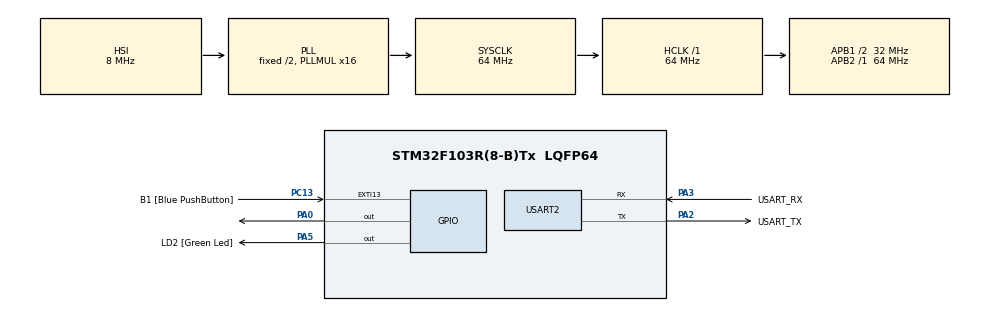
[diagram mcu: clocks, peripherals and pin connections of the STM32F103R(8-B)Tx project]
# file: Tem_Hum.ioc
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Mcu.Family=STM32F1
Mcu.Name=STM32F103R(8-B)Tx
Mcu.Package=LQFP64
NVIC.EXTI15_10_IRQn=true\:0\:0\:false\:false\:true\:true\:true\:true
NVIC.PriorityGroup=NVIC_PRIORITYGROUP_4
PA0-WKUP.Signal=GPIO_Output
PA13.GPIO_Label=TMS
PA13.Mode=Serial_Wire
PA13.Signal=SYS_JTMS-SWDIO
PA14.GPIO_Label=TCK
PA14.Mode=Serial_Wire
PA14.Signal=SYS_JTCK-SWCLK
PA2.GPIO_Label=USART_TX
PA2.GPIO_Mode=GPIO_MODE_AF_PP
PA2.GPIO_PuPd=GPIO_NOPULL
PA2.GPIO_Speed=GPIO_SPEED_FREQ_LOW
PA2.Mode=Asynchronous
PA2.Signal=USART2_TX
PA3.GPIO_Label=USART_RX
PA3.GPIO_Mode=GPIO_MODE_AF_PP
PA3.GPIO_PuPd=GPIO_NOPULL
PA3.GPIO_Speed=GPIO_SPEED_FREQ_LOW
PA3.Mode=Asynchronous
PA3.Signal=USART2_RX
PA5.GPIO_Label=LD2 [Green Led]
PA5.GPIO_ModeDefaultOutputPP=GPIO_MODE_OUTPUT_PP
PA5.GPIO_PuPd=GPIO_NOPULL
PA5.GPIO_Speed=GPIO_SPEED_FREQ_LOW
PA5.Signal=GPIO_Output
PB3.GPIO_Label=SWO
PB3.Signal=SYS_JTDO-TRACESWO
PC13-TAMPER-RTC.GPIO_Label=B1 [Blue PushButton]
PC13-TAMPER-RTC.GPIO_PuPd=GPIO_NOPULL
PC13-TAMPER-RTC.Signal=GPXTI13
PC14-OSC32_IN.Mode=LSE-External-Oscillator
PC14-OSC32_IN.Signal=RCC_OSC32_IN
PC15-OSC32_OUT.Mode=LSE-External-Oscillator
PC15-OSC32_OUT.Signal=RCC_OSC32_OUT
PD0-OSC_IN.Mode=HSE-External-Clock-Source
PD0-OSC_IN.Signal=RCC_OSC_IN
PD1-OSC_OUT.Mode=HSE-External-Clock-Source
PD1-OSC_OUT.Signal=RCC_OSC_OUT
ProjectManager.HeapSize=0x200
ProjectManager.StackSize=0x400
ProjectManager.TargetToolchain=STM32CubeIDE
RCC.AHBFreq_Value=64000000
RCC.APB1CLKDivider=RCC_HCLK_DIV2
RCC.APB1Freq_Value=32000000
RCC.APB1TimFreq_Value=64000000
RCC.APB2Freq_Value=64000000
RCC.APB2TimFreq_Value=64000000
RCC.HCLKFreq_Value=64000000
RCC.PLLMUL=RCC_PLL_MUL16
RCC.RTCClockSelection=RCC_RTCCLKSOURCE_LSE
RCC.SYSCLKFreq_VALUE=64000000
RCC.SYSCLKSource=RCC_SYSCLKSOURCE_PLLCLK
RCC.USBFreq_Value=64000000
TIM2.Prescaler=64-1
USART2.VirtualMode=VM_ASYNC
VP_TIM2_VS_ClockSourceINT.Mode=Internal
board=NUCLEO-F103RB

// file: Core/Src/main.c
/* USER CODE BEGIN Header */
/**
  ******************************************************************************
  * @file           : main.c
  * @brief          : Main program body
  ******************************************************************************
  * @attention
  *
  * Copyright (c) 2022 STMicroelectronics.
  * All rights reserved.
  *
  * This software is licensed under terms that can be found in the LICENSE file
  * in the root directory of this software component.
  * If no LICENSE file comes with this software, it is provided AS-IS.
  *
  ******************************************************************************
  */
/* USER CODE END Header */
#include "main.h"

/* USER CODE BEGIN Includes */
#include "stdio.h"
/* USER CODE END Includes */

 TIM_HandleTypeDef htim2;

UART_HandleTypeDef huart2;

/* USER CODE BEGIN PV */
uint8_t RH_integral, RH_decimal, T_integral, T_decimal, CheckSum;
/* USER CODE END PV */

void SystemClock_Config(void);
static void MX_GPIO_Init(void);
static void MX_USART2_UART_Init(void);
static void MX_TIM2_Init(void);
/* USER CODE BEGIN PFP */
#ifdef __GNUC__
/* With GCC, small printf (option LD Linker->Libraries->Small printf
   set to 'Yes') calls __io_putchar() */
#define PUTCHAR_PROTOTYPE int __io_putchar(int ch)
#else
#define PUTCHAR_PROTOTYPE int fputc(int ch, FILE *f)
#endif /* __GNUC__ */

PUTCHAR_PROTOTYPE
{
  /* Place your implementation of fputc here */
  /* e.g. write a character to the USART1 and Loop until the end of transmission */
  HAL_UART_Transmit(&huart2, (uint8_t *)&ch, 1, 0xFFFF);

  return ch;
}
/* USER CODE END PFP */

/* USER CODE BEGIN 0 */
void Set_Pin_Output(GPIO_TypeDef *GPIOx, uint16_t GPIO_Pin) {
	GPIOA->CRL |= (1 << 3 | 1 << 1 | 1 << 0);
	GPIOA->CRL &= ~(1 << 2);

}

void Set_Pin_Input(GPIO_TypeDef *GPIOx, uint16_t GPIO_Pin) {
	GPIOA->CRL &= ~(1 << 2 | 1 << 1 | 1 << 0);
	GPIOA->CRL |= 1 << 3;
}

void DHT11_Start() {
	Set_Pin_Output(GPIOA, GPIO_PIN_0); //set as output
	HAL_GPIO_WritePin(GPIOA, GPIO_PIN_0, GPIO_PIN_RESET);
	HAL_GPIO_WritePin(GPIOA, GPIO_PIN_0, GPIO_PIN_SET);
	us_delay(20);
	Set_Pin_Input(GPIOA, GPIO_PIN_0); //set as input
}

uint8_t DHT11_Check_Response() {
	uint8_t Response = 0;
	us_delay(40);
	if(!(HAL_GPIO_ReadPin(GPIOA, GPIO_PIN_0))) {
		us_delay(80);
		if((HAL_GPIO_ReadPin(GPIOA, GPIO_PIN_0))) Response = 1;
		else Response = -1; //255
	}
	while((HAL_GPIO_ReadPin(GPIOA, GPIO_PIN_0))); //wait for the pin to go low

	return Response;
}

uint8_t DHT11_Read() {
	uint8_t data;
	for(uint8_t i = 0; i < 8; i++) {
		while(!(HAL_GPIO_ReadPin(GPIOA, GPIO_PIN_0))); //wait for the pin to go high
		us_delay(40);
		if(!(HAL_GPIO_ReadPin(GPIOA, GPIO_PIN_0))) { //if the pin is low
			data = (data << 1); //write 0
		}
		else data = (data << 1) + 1; //if the pin is high, write 1

		while((HAL_GPIO_ReadPin(GPIOA, GPIO_PIN_0))); //wait for the pin to go low
	}
	return data;
}

void us_delay(uint16_t delay) {
	__HAL_TIM_SET_COUNTER(&htim2, 0);
	while(__HAL_TIM_GET_COUNTER(&htim2) < delay);

//	TIM3->CNT = 0;
//	while(TIM3->CNT < delay);
}
/* USER CODE END 0 */

int main(void)
{

  /* MCU Configuration--------------------------------------------------------*/

  /* Reset of all peripherals, Initializes the Flash interface and the Systick. */
  HAL_Init();

  /* Configure the system clock */
  SystemClock_Config();

  /* Initialize all configured peripherals */
  MX_GPIO_Init();
  MX_USART2_UART_Init();
  MX_TIM2_Init();
  /* USER CODE BEGIN 2 */

  HAL_TIM_Base_Start(&htim2);

  /* USER CODE END 2 */

  /* Infinite loop */
  /* USER CODE BEGIN WHILE */
  while (1)
  {
	  DHT11_Start();
	  DHT11_Check_Response();

	  RH_integral = DHT11_Read();
	  RH_decimal = DHT11_Read();
	  T_integral = DHT11_Read();
	  T_decimal = DHT11_Read();
	  CheckSum = DHT11_Read();

	  if((RH_integral + RH_decimal + T_integral + T_decimal) == CheckSum) {
		  printf("Temperature : %d.%d 'C\n", T_integral, T_decimal);
		  printf("Humidity : %d.%d %%\n\r", RH_integral, RH_decimal);
	  }
	  else {
		  printf("DHT11 Error\n");
	  }
	  HAL_Delay(1000);
    /* USER CODE END WHILE */

  }
}

void SystemClock_Config(void)
{
  RCC_OscInitTypeDef RCC_OscInitStruct = {0};
  RCC_ClkInitTypeDef RCC_ClkInitStruct = {0};

  /** Initializes the RCC Oscillators according to the specified parameters
  * in the RCC_OscInitTypeDef structure.
  */
  RCC_OscInitStruct.OscillatorType = RCC_OSCILLATORTYPE_HSI;
  RCC_OscInitStruct.HSIState = RCC_HSI_ON;
  RCC_OscInitStruct.HSICalibrationValue = RCC_HSICALIBRATION_DEFAULT;
  RCC_OscInitStruct.PLL.PLLState = RCC_PLL_ON;
  RCC_OscInitStruct.PLL.PLLSource = RCC_PLLSOURCE_HSI_DIV2;
  RCC_OscInitStruct.PLL.PLLMUL = RCC_PLL_MUL16;
  if (HAL_RCC_OscConfig(&RCC_OscInitStruct) != HAL_OK)
  {
    Error_Handler();
  }

  /** Initializes the CPU, AHB and APB buses clocks
  */
  RCC_ClkInitStruct.ClockType = RCC_CLOCKTYPE_HCLK|RCC_CLOCKTYPE_SYSCLK
                              |RCC_CLOCKTYPE_PCLK1|RCC_CLOCKTYPE_PCLK2;
  RCC_ClkInitStruct.SYSCLKSource = RCC_SYSCLKSOURCE_PLLCLK;
  RCC_ClkInitStruct.AHBCLKDivider = RCC_SYSCLK_DIV1;
  RCC_ClkInitStruct.APB1CLKDivider = RCC_HCLK_DIV2;
  RCC_ClkInitStruct.APB2CLKDivider = RCC_HCLK_DIV1;

  if (HAL_RCC_ClockConfig(&RCC_ClkInitStruct, FLASH_LATENCY_2) != HAL_OK)
  {
    Error_Handler();
  }
}

static void MX_TIM2_Init(void)
{

  TIM_ClockConfigTypeDef sClockSourceConfig = {0};
  TIM_MasterConfigTypeDef sMasterConfig = {0};

  htim2.Instance = TIM2;
  htim2.Init.Prescaler = 64-1;
  htim2.Init.CounterMode = TIM_COUNTERMODE_UP;
  htim2.Init.Period = 65535;
  htim2.Init.ClockDivision = TIM_CLOCKDIVISION_DIV1;
  htim2.Init.AutoReloadPreload = TIM_AUTORELOAD_PRELOAD_DISABLE;
  if (HAL_TIM_Base_Init(&htim2) != HAL_OK)
  {
    Error_Handler();
  }
  sClockSourceConfig.ClockSource = TIM_CLOCKSOURCE_INTERNAL;
  if (HAL_TIM_ConfigClockSource(&htim2, &sClockSourceConfig) != HAL_OK)
  {
    Error_Handler();
  }
  sMasterConfig.MasterOutputTrigger = TIM_TRGO_RESET;
  sMasterConfig.MasterSlaveMode = TIM_MASTERSLAVEMODE_DISABLE;
  if (HAL_TIMEx_MasterConfigSynchronization(&htim2, &sMasterConfig) != HAL_OK)
  {
    Error_Handler();
  }

}

static void MX_USART2_UART_Init(void)
{

  huart2.Instance = USART2;
  huart2.Init.BaudRate = 115200;
  huart2.Init.WordLength = UART_WORDLENGTH_8B;
  huart2.Init.StopBits = UART_STOPBITS_1;
  huart2.Init.Parity = UART_PARITY_NONE;
  huart2.Init.Mode = UART_MODE_TX_RX;
  huart2.Init.HwFlowCtl = UART_HWCONTROL_NONE;
  huart2.Init.OverSampling = UART_OVERSAMPLING_16;
  if (HAL_UART_Init(&huart2) != HAL_OK)
  {
    Error_Handler();
  }

}

static void MX_GPIO_Init(void)
{
  GPIO_InitTypeDef GPIO_InitStruct = {0};

  /* GPIO Ports Clock Enable */
  __HAL_RCC_GPIOC_CLK_ENABLE();
  __HAL_RCC_GPIOD_CLK_ENABLE();
  __HAL_RCC_GPIOA_CLK_ENABLE();
  __HAL_RCC_GPIOB_CLK_ENABLE();

  /*Configure GPIO pin Output Level */
  HAL_GPIO_WritePin(GPIOA, GPIO_PIN_0|LD2_Pin, GPIO_PIN_RESET);

  /*Configure GPIO pin : B1_Pin */
  GPIO_InitStruct.Pin = B1_Pin;
  GPIO_InitStruct.Mode = GPIO_MODE_IT_RISING;
  GPIO_InitStruct.Pull = GPIO_NOPULL;
  HAL_GPIO_Init(B1_GPIO_Port, &GPIO_InitStruct);

  /*Configure GPIO pins : PA0 LD2_Pin */
  GPIO_InitStruct.Pin = GPIO_PIN_0|LD2_Pin;
  GPIO_InitStruct.Mode = GPIO_MODE_OUTPUT_PP;
  GPIO_InitStruct.Pull = GPIO_NOPULL;
  GPIO_InitStruct.Speed = GPIO_SPEED_FREQ_LOW;
  HAL_GPIO_Init(GPIOA, &GPIO_InitStruct);

  /* EXTI interrupt init*/
  HAL_NVIC_SetPriority(EXTI15_10_IRQn, 0, 0);
  HAL_NVIC_EnableIRQ(EXTI15_10_IRQn);

}

void Error_Handler(void)
{
  __disable_irq();
  while (1)
  {
  }
}
